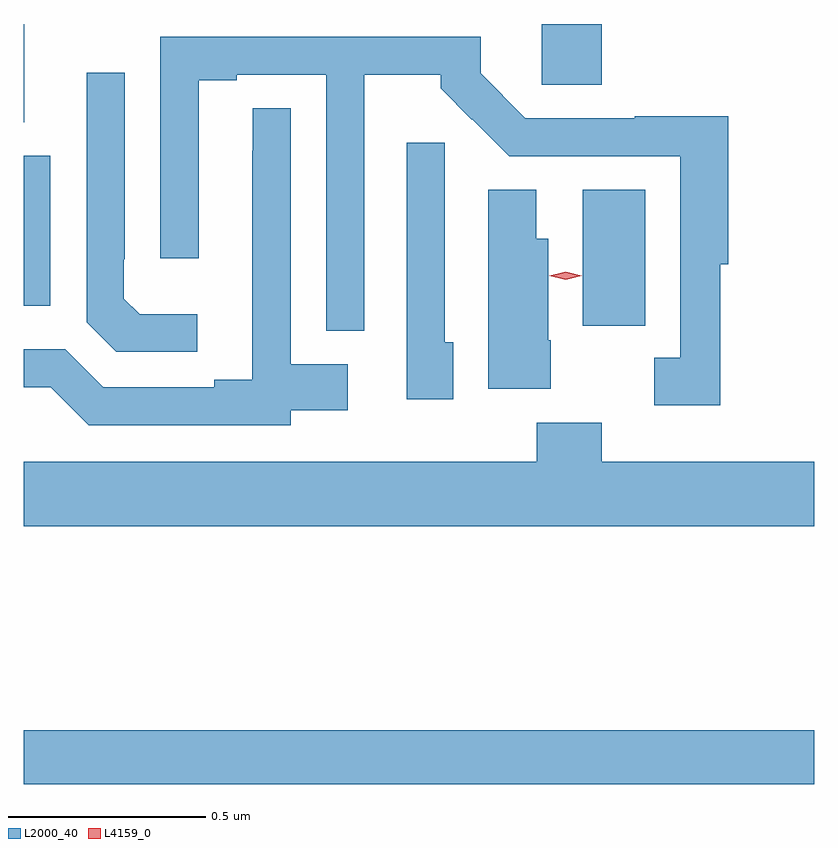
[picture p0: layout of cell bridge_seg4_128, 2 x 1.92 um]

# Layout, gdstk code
import gdstk
lib = gdstk.Library(unit=1e-6, precision=1e-09)
def R(c, l, rs):  # rectangles x0, y0, x1, y1
    for r in rs: c.add(gdstk.rectangle(r[:2], r[2:], *l))
def P(c, l, *ps):  # polygons
    for p in ps: c.add(gdstk.Polygon(p, *l))
L2000_40 = (2000, 40)
L4159_0 = (4159, 0)

bridge_seg4_128 = lib.new_cell('bridge_seg4_128')
R(bridge_seg4_128, L2000_40, [(338.883,765.532,340.883,765.668), (340.298,766.692,340.456,767.036), (338.883,766.743,338.95,767.122), (338.883,767.207,338.884,767.456), (340.194,767.302,340.346,767.456)])
P(bridge_seg4_128, L2000_40, [(340.646,766.848),(340.666,766.848),(340.666,767.222),(340.429,767.222),(340.429,767.217),(340.152,767.217),(340.039,767.331),(340.039,767.424),(339.228,767.424),(339.228,766.863),(339.325,766.863),(339.325,767.313),(339.421,767.313),(339.421,767.328),(339.648,767.328),(339.648,766.679),(339.744,766.679),(339.744,767.327),(339.938,767.327),(339.938,767.293),(340.017,767.214),(340.018,767.215),(340.112,767.121),(340.545,767.121),(340.545,766.611),(340.479,766.611),(340.479,766.491),(340.646,766.491)],
  [(339.322,766.721),(339.176,766.721),(339.135,766.761),(339.135,766.861),(339.138,766.861),(339.138,767.332),(339.042,767.332),(339.042,766.701),(339.117,766.626),(339.322,766.626)],
  [(339.558,766.478),(339.703,766.478),(339.703,766.594),(339.558,766.594),(339.558,767.243),(339.462,767.243),(339.462,767.135),(339.461,767.135),(339.461,766.556),(339.365,766.556),(339.365,766.536),(339.084,766.536),(338.988,766.632),(338.883,766.632),(338.883,766.536),(338.951,766.536),(339.047,766.44),(339.558,766.44)],
  [(339.97,766.65),(339.948,766.65),(339.948,767.155),(339.852,767.155),(339.852,766.506),(339.97,766.506)],
  [(340.216,766.656),(340.21,766.656),(340.21,766.912),(340.18,766.912),(340.18,767.036),(340.058,767.036),(340.058,766.532),(340.216,766.532)],
  [(340.883,766.348),(340.346,766.348),(340.346,766.447),(340.181,766.447),(340.181,766.348),(338.883,766.348),(338.883,766.184),(340.883,766.184)])
P(bridge_seg4_128, L4159_0, [(340.254,766.809),(340.213,766.819),(340.213,766.819),(340.213,766.819),(340.254,766.829),(340.295,766.819),(340.295,766.819),(340.295,766.819)])

lib.write_gds('bridge_seg4_128.gds')
